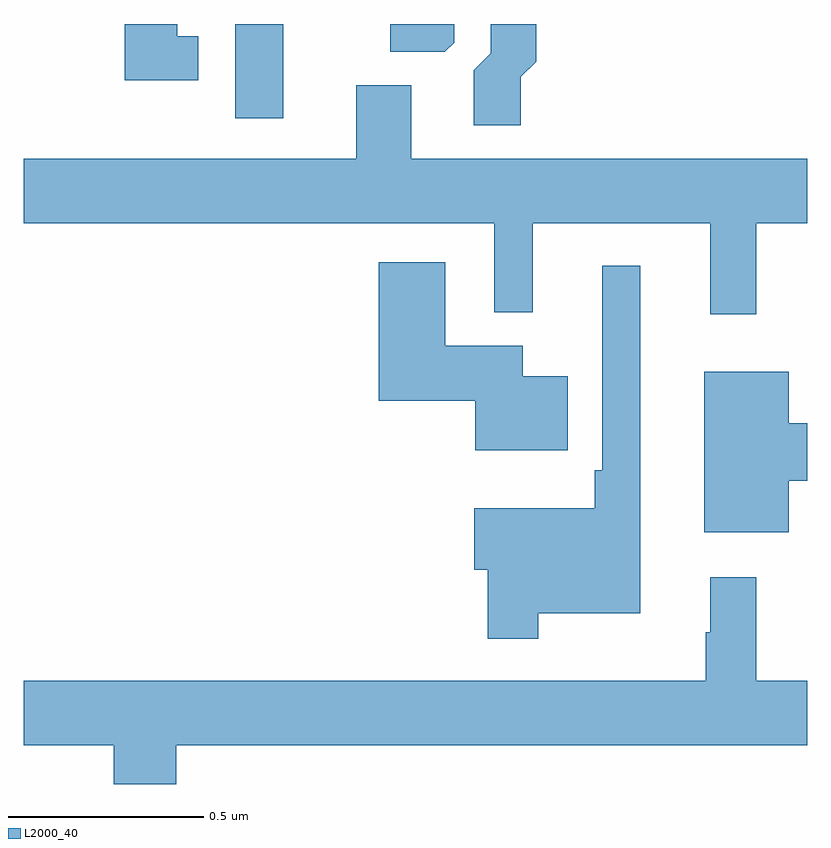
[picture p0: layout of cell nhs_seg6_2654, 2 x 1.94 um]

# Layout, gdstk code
import gdstk
lib = gdstk.Library(unit=1e-6, precision=1e-09)
def R(c, l, rs):  # rectangles x0, y0, x1, y1
    for r in rs: c.add(gdstk.rectangle(r[:2], r[2:], *l))
def P(c, l, *ps):  # polygons
    for p in ps: c.add(gdstk.Polygon(p, *l))
L2000_40 = (2000, 40)

nhs_seg6_2654 = lib.new_cell('nhs_seg6_2654')
R(nhs_seg6_2654, L2000_40, [(146.54,958.26,146.662,958.5)])
P(nhs_seg6_2654, L2000_40, [(147.099,958.452),(147.099,958.5),(146.936,958.5),(146.936,958.429),(147.075,958.429)],
  [(147.269,958.365),(147.308,958.404),(147.308,958.5),(147.192,958.5),(147.192,958.425),(147.149,958.382),(147.149,958.242),(147.269,958.242)],
  [(146.446,958.469),(146.392,958.469),(146.392,958.5),(146.258,958.5),(146.258,958.356),(146.446,958.356)],
  [(147.869,957.992),(148,957.992),(148,958.156),(146.989,958.156),(146.989,958.344),(146.849,958.344),(146.849,958.156),(146,958.156),(146,957.992),(147.201,957.992),(147.201,957.764),(147.299,957.764),(147.299,957.992),(147.752,957.992),(147.752,957.759),(147.869,957.759)],
  [(147.388,957.601),(147.274,957.601),(147.274,957.679),(147.076,957.679),(147.076,957.892),(146.906,957.892),(146.906,957.539),(147.152,957.539),(147.152,957.413),(147.388,957.413)],
  [(147.313,956.996),(147.574,956.996),(147.574,957.883),(147.477,957.883),(147.477,957.361),(147.457,957.361),(147.457,957.265),(147.15,957.265),(147.15,957.107),(147.184,957.107),(147.184,956.931),(147.313,956.931)],
  [(147.952,957.335),(148,957.335),(148,957.482),(147.952,957.482),(147.952,957.613),(147.737,957.613),(147.737,957.203),(147.952,957.203)],
  [(146.39,956.66),(148,956.66),(148,956.824),(147.869,956.824),(147.869,957.088),(147.752,957.088),(147.752,956.948),(147.741,956.948),(147.741,956.824),(146,956.824),(146,956.66),(146.23,956.66),(146.23,956.561),(146.39,956.561)])

lib.write_gds('nhs_seg6_2654.gds')
